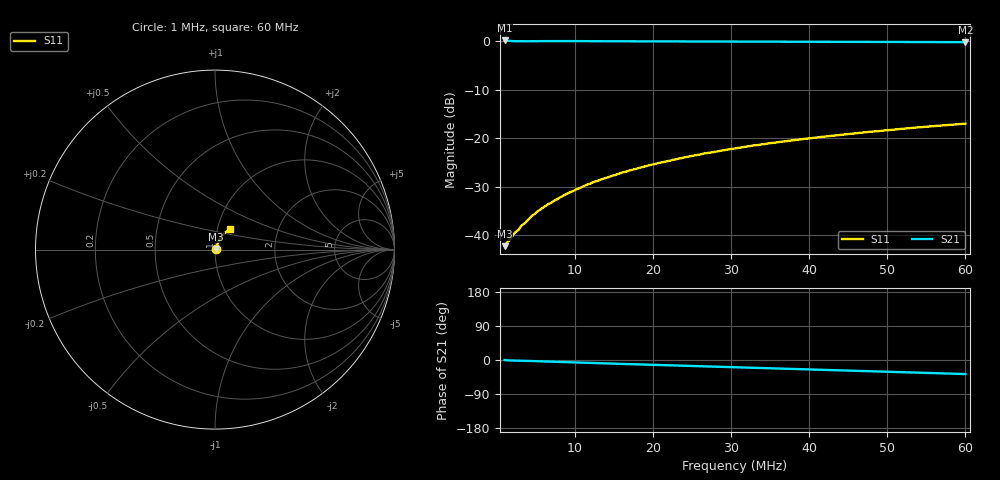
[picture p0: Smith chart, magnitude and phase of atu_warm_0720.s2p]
! S11/S21 from S-A-A-2 VNA
! Written 2026-11-14 07:19:29 by the saav2 MCP server
! S12 and S22 were not measured (1.5-port VNA) and are written as 0
# HZ S RI R 50
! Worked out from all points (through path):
!   201 points, 1 MHz to 60 MHz, reference 50 ohm
!   highest |S21| = 0.16 dB at 1 MHz (marker M1); lowest = -0.2 dB at 60 MHz (marker M2)
!   group delay of S21, straight-line fit = 1.71 ns
!   lowest |S11| = -42.2 dB at 1 MHz (marker M3), VSWR 1.02, Z = 50.7 + j0.328 ohm
!   |S11| at or under -10 dB: start of sweep to end of sweep
!   S12 and S22 are empty: the file has one direction only
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1000000  0.00705 0.00323  1.018 -6.19e-05  0 0  0 0
1295000  0.00726 0.00437  1.013 -0.0139  0 0  0 0
1590000  0.00727 0.00502  1.007 -0.0203  0 0  0 0
2180000  0.00782 0.00684  1.001 -0.0253  0 0  0 0
2475000  0.00788 0.00767  1 -0.0282  0 0  0 0
2770000  0.00785 0.00822  0.9999 -0.0303  0 0  0 0
3065000  0.00836 0.00908  0.9996 -0.0331  0 0  0 0
4540000  0.00897 0.0133  0.9995 -0.0481  0 0  0 0
5130000  0.0095 0.0147  0.9995 -0.0546  0 0  0 0
6605000  0.0103 0.0184  0.9996 -0.0715  0 0  0 0
8080000  0.0111 0.022  0.9988 -0.0887  0 0  0 0
9260000  0.0121 0.0248  0.9976 -0.1025  0 0  0 0
1.103e7  0.0133 0.0291  0.9948 -0.123  0 0  0 0
1.2505e7  0.0146 0.0327  0.9912 -0.1401  0 0  0 0
1.6045e7  0.0179 0.0407  0.9824 -0.1788  0 0  0 0
2.0765e7  0.0223 0.0512  0.9686 -0.2277  0 0  0 0
2.637e7  0.0294 0.0629  0.9507 -0.2845  0 0  0 0
3.05e7  0.0347 0.0707  0.9353 -0.325  0 0  0 0
3.4925e7  0.0414 0.0789  0.9177 -0.3679  0 0  0 0
4.053e7  0.0497 0.0881  0.8926 -0.421  0 0  0 0
5.0265e7  0.0665 0.1019  0.8411 -0.508  0 0  0 0
6e7  0.0853 0.113  0.7801 -0.5902  0 0  0 0
